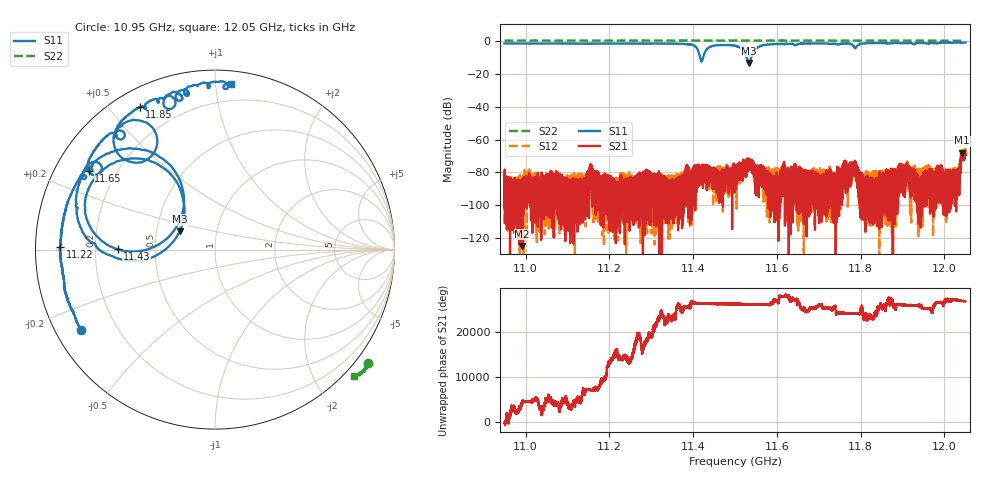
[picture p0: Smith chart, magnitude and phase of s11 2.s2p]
!Agilent Technologies,E8362C,MY49020356,A.09.42.23
!Agilent E8362C: A.09.42.23
!Date: Saturday, September 11, 2021 04:21:33
!Correction: S11(Full 2 Port(1,2))
!S21(Full 2 Port(1,2))
!S12(Full 2 Port(1,2))
!S22(Full 2 Port(1,2))
!S2P File: Measurements: S11, S21, S12, S22:
# Hz S  MA  R 50
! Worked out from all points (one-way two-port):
!   32001 points, 10.95 GHz to 12.05 GHz, reference 50 ohm
!   highest |S21| = -67.95 dB at 12.04 GHz (marker M1); lowest = -124.9 dB at 10.99 GHz (marker M2)
!   lowest |S11| = -13.1 dB at 11.53 GHz (marker M3), VSWR 1.57, Z = 33 + j7.06 ohm
!   |S11| at or under -10 dB: 11.41714 GHz to 11.42368 GHz (6.54 MHz wide, 0.0573 % of centre); 11.52817 GHz to 11.53828 GHz (10.11 MHz wide, 0.0877 % of centre)
!   |S22| runs from 0.4 to 0.6 dB; largest |S21 - S12| = 0.00018
!   S11 on the Smith chart (normalised r, x): 10.95 GHz: 0.07, -0.28; 11.22 GHz: 0.07, +0.01; 11.43 GHz: 0.30, +0.00; 11.65 GHz: 0.10, +0.28; 11.85 GHz: 0.07, +0.60; 12.05 GHz: 0.09, +1.10
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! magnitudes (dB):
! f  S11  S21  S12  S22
! 10.95 GHz  -1.2  -92.4  -91.2  0.5
! 10.99 GHz  -1.2  -124.9  -84.4  0.5
! 11.13 GHz  -1.3  -101.6  -95.2  0.5
! 11.22 GHz  -1.3  -92.4  -84.1  0.5
! 11.32 GHz  -1.3  -89.2  -94.5  0.6
! 11.4 GHz  -2.1  -85.4  -84.0  0.6
! 11.42 GHz  -12.1  -85.0  -80.0  0.6
! 11.43 GHz  -5.3  -79.0  -82.2  0.5
! 11.45 GHz  -2.5  -84.1  -83.1  0.6
! 11.5 GHz  -2.6  -78.8  -82.7  0.6
! 11.52 GHz  -4.7  -79.2  -78.5  0.6
! 11.53 GHz  -13.1  -75.8  -76.0  0.6
! 11.55 GHz  -4.8  -75.8  -84.3  0.6
! 11.56 GHz  -2.5  -83.3  -78.0  0.6
! 11.65 GHz  -1.6  -88.9  -96.2  0.6
! 11.68 GHz  -1.2  -84.0  -86.3  0.6
! 11.78 GHz  -3.4  -80.6  -77.6  0.5
! 11.85 GHz  -0.9  -83.9  -95.4  0.5
! 11.87 GHz  -1.2  -81.3  -87.3  0.5
! 12.03 GHz  -0.6  -84.9  -79.5  0.4
! 12.04 GHz  -0.9  -68.0  -66.8  0.4
! 12.05 GHz  -0.7  -68.9  -66.6  0.4
